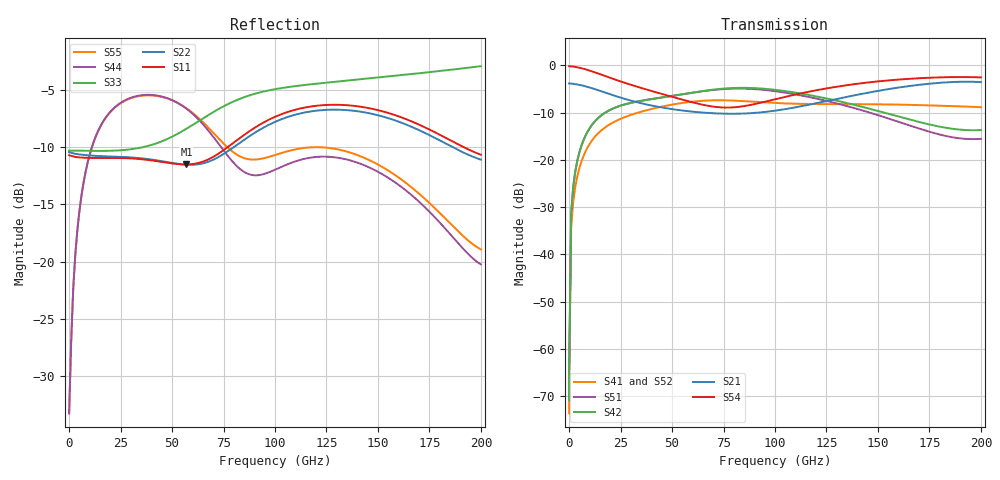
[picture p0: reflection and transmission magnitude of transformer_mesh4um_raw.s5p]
#  GHZ S DB R 50.0
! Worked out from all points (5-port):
!   202 points, 10 MHz to 200 GHz, reference 50 ohm
!   strongest paths, dB at 10 MHz, 49 GHz, 100 GHz, 150 GHz, 200 GHz:
!     S54: -0.2, -6.5, -7.2, -3.4, -2.6
!     S21: -3.8, -9.2, -9.6, -5.4, -3.6
!     S42: -70.8, -6.6, -5.2, -9.7, -13.7
!     S51: -70.8, -6.5, -5.5, -10.6, -15.6
!     S41: -73.6, -8.4, -8.0, -8.3, -8.9
!     S52: -73.6, -8.4, -8.0, -8.4, -9.1
!   lowest |S11| = -11.5 dB at 57 GHz (marker M1), VSWR 1.72, Z = 70.8 + j25.3 ohm
!   |S11| at or under -10 dB: start of sweep to 77.2 GHz; 191.4 GHz to end of sweep
